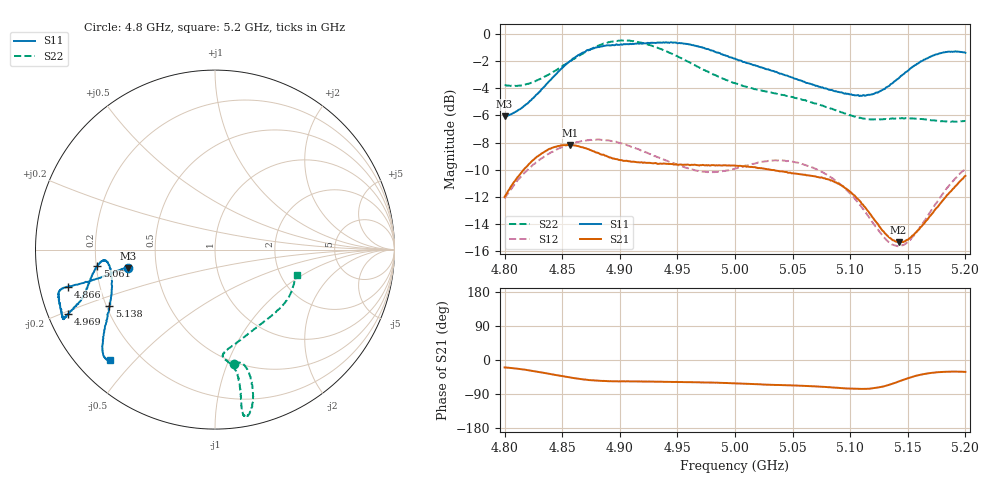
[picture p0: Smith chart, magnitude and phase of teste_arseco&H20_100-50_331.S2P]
! Network Analyzer HP8722D
! Hewlett-Packard
! Data name: Linha & Wilkinson
! Saver's name: Rodrigo Anjos
! Comments: Teste da utilização de aquisição
! continua pelo VNA HP8722D
! Time and date: 6/5/2025 15:19
!  Frequency  S11  S21  S12  S22
# HZ  S  MA R 50
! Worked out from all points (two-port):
!   401 points, 4.8 GHz to 5.2 GHz, reference 50 ohm
!   highest |S21| = -8.17 dB at 4.857 GHz (marker M1); lowest = -15.3 dB at 5.142 GHz (marker M2)
!   |S21| within 3 dB of the highest: 4.806 GHz to 5.093 GHz (287 MHz wide, 5.8 % of centre); 5.191796 GHz to end of sweep
!   lowest |S11| = -6.1 dB at 4.8 GHz (marker M3), VSWR 2.97, Z = 17 - j4.59 ohm
!   |S11| at or under -10 dB: nowhere
!   |S22| runs from -6.5 to -0.5 dB; largest |S21 - S12| = 0.62
!   S11 on the Smith chart (normalised r, x): 4.8 GHz: 0.34, -0.09; 4.866 GHz: 0.09, -0.12; 4.969 GHz: 0.06, -0.21; 5.061 GHz: 0.20, -0.07; 5.138 GHz: 0.21, -0.24; 5.2 GHz: 0.09, -0.43
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4.8e9  0.4967 -168.2  0.2516 -19.6  0.248 -140.8  0.6484 -80.4
4.828e9  0.5996 -167.0  0.3533 -30.5  0.338 -144.8  0.6744 -75.4
4.857e9  0.7954 -165.8  0.3904 -46.2  0.3928 -150.2  0.7928 -74.8
4.866e9  0.8434 -165.8  0.3838 -50.3  0.4026 -151.8  0.8364 -75.3
4.867e9  0.8486 -165.9  0.383 -50.8  0.4031 -151.9  0.8427 -75.5
4.881e9  0.8949 -165.2  0.3651 -54.6  0.4089 -154.4  0.9035 -76.9
4.901e9  0.9147 -162.2  0.3434 -56.3  0.3963 -156.7  0.9452 -79.2
4.934e9  0.9285 -156.4  0.3327 -57.4  0.351 -155.6  0.8839 -80.5
4.969e9  0.8954 -156.4  0.328 -58.9  0.3126 -147.3  0.7519 -79.7
5e9  0.8109 -158.8  0.3276 -61.7  0.3196 -137.2  0.6586 -81.2
5.036e9  0.7246 -165.5  0.3139 -65.8  0.3424 -134.4  0.6027 -85.6
5.061e9  0.6631 -171.9  0.3034 -68.3  0.3295 -136.2  0.5705 -84.0
5.067e9  0.6513 -172.9  0.3005 -69.1  0.3229 -136.7  0.5589 -82.6
5.086e9  0.616 -174.5  0.2861 -72.8  0.2913 -138.4  0.5264 -75.2
5.103e9  0.5956 -171.4  0.2558 -75.9  0.2505 -138.6  0.4973 -65.2
5.116e9  0.597 -165.5  0.2217 -76.0  0.213 -135.4  0.485 -55.8
5.134e9  0.6442 -154.4  0.1783 -65.3  0.171 -120.7  0.4863 -43.2
5.138e9  0.6667 -151.8  0.174 -61.3  0.1671 -115.7  0.487 -40.8
5.142e9  0.6855 -149.7  0.1712 -56.8  0.1659 -110.3  0.4891 -38.6
5.154e9  0.754 -144.4  0.1813 -44.5  0.1793 -95.0  0.4887 -32.3
5.172e9  0.8328 -138.8  0.2204 -33.5  0.2293 -81.1  0.4809 -24.6
5.2e9  0.8516 -133.6  0.3005 -31.3  0.3187 -76.8  0.4773 -17.4
